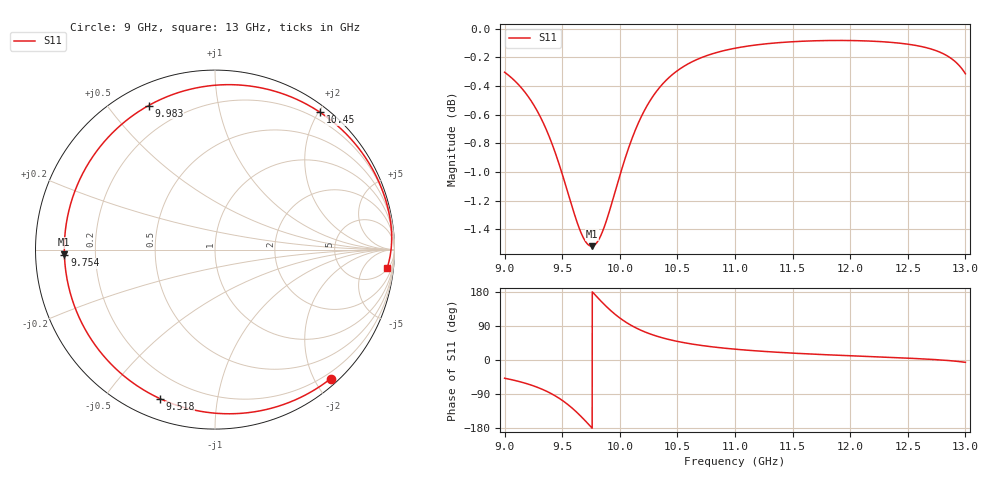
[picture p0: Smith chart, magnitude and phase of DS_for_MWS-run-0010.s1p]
! TOUCHSTONE file generated by CST DESIGN STUDIO
! Date and time: Tue Feb  4 18:40:52 2025
! Project name: C:\Work\MatlabApps\UnitCellOptimizationMatlab\CST\unitcell.cst
! Tree item: Tasks\Sweep1\SPara1\S-Parameters
! Header version: 2024
! Port assignment regex: !\s*Touchstone port\s*([0-9]+)\s*=\s*(CST MWS port|CST DES external port|CST DES block port)\s*(.+)\s* \(\"(.*)\"\)(\s*mode\s*([0-9]+))?.*
! Touchstone port assignment:
! Touchstone port 1 = CST DES external port 1 ("")
# GHz S MA R 50
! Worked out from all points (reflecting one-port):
!   4001 points, 9 GHz to 13 GHz, reference 50 ohm
!   lowest |S11| = -1.5 dB at 9.755 GHz (marker M1), VSWR 11.47, Z = 4.36 - j0.774 ohm
!   phase of S11 starts at -48 deg and turns -318 deg over the sweep
!   S11 on the Smith chart (normalised r, x): 9 GHz: 0.11, -2.24; 9.518 GHz: 0.09, -0.69; 9.754 GHz: 0.09, -0.02; 9.983 GHz: 0.09, +0.64; 10.45 GHz: 0.10, +2.02; 13 GHz: 6, -17
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9  0.9656 -48.1
9.14  0.9542 -57.9
9.269  0.9382 -70.3
9.4  0.9142 -87.9
9.5  0.8898 -106.4
9.518  0.885 -110.3
9.574  0.8698 -123.7
9.629  0.8559 -138.7
9.695  0.8437 -158.7
9.754  0.8396 -177.9
9.755  0.8396 -178.2
9.802  0.8422 166.4
9.851  0.8497 150.8
9.917  0.8655 131.6
9.983  0.8838 114.8
10  0.8886 110.9
10.094  0.9128 92.2
10.213  0.9363 74.6
10.324  0.9515 62.6
10.448  0.9632 52.5
10.5  0.9669 49.1
10.717  0.9774 38.0
11  0.9845 28.5
11.5  0.9896 18.2
12  0.9906 11.2
12.5  0.9877 4.9
12.794  0.9807 -0.1
13  0.9645 -6.1
